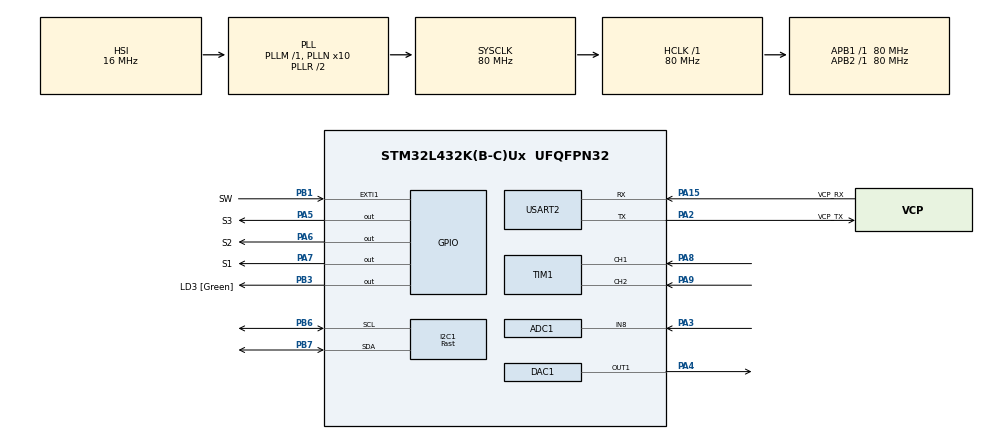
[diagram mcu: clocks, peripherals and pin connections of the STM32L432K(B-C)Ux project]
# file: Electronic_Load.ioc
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ADC1.Channel-0\#ChannelRegularConversion=ADC_CHANNEL_8
ADC1.ClockPrescaler=ADC_CLOCK_ASYNC_DIV64
ADC1.ContinuousConvMode=ENABLE
ADC1.DMAContinuousRequests=ENABLE
ADC1.ExternalTrigConv=ADC_EXTERNALTRIG_T6_TRGO
ADC1.NbrOfConversion=1
ADC1.NbrOfConversionFlag=1
ADC1.OffsetNumber-0\#ChannelRegularConversion=ADC_OFFSET_NONE
ADC1.Rank-0\#ChannelRegularConversion=1
ADC1.SamplingTime-0\#ChannelRegularConversion=ADC_SAMPLETIME_247CYCLES_5
ADC1.master=1
DAC1.DAC_OutputBuffer-DAC_OUT1=DAC_OUTPUTBUFFER_DISABLE
DAC1.DAC_Trigger-DAC_OUT1=DAC_TRIGGER_NONE
Dma.ADC1.0.Direction=DMA_PERIPH_TO_MEMORY
Dma.ADC1.0.Instance=DMA1_Channel1
Dma.ADC1.0.MemDataAlignment=DMA_MDATAALIGN_HALFWORD
Dma.ADC1.0.MemInc=DMA_MINC_ENABLE
Dma.ADC1.0.Mode=DMA_CIRCULAR
Dma.ADC1.0.PeriphDataAlignment=DMA_PDATAALIGN_HALFWORD
Dma.ADC1.0.PeriphInc=DMA_PINC_DISABLE
Dma.ADC1.0.Priority=DMA_PRIORITY_LOW
Dma.Request0=ADC1
I2C1.I2C_Speed_Mode=I2C_Fast
I2C1.Timing=0x00F12981
Mcu.Family=STM32L4
Mcu.Name=STM32L432K(B-C)Ux
Mcu.Package=UFQFPN32
NVIC.ADC1_IRQn=true\:0\:0\:false\:false\:true\:true\:true\:true
NVIC.DMA1_Channel1_IRQn=true\:0\:0\:false\:false\:true\:false\:true\:true
NVIC.EXTI1_IRQn=true\:0\:0\:false\:false\:true\:true\:true\:true
NVIC.PriorityGroup=NVIC_PRIORITYGROUP_4
NVIC.TIM1_BRK_TIM15_IRQn=true\:0\:0\:false\:false\:true\:true\:true\:true
NVIC.TIM1_CC_IRQn=true\:0\:0\:false\:false\:true\:true\:true\:true
NVIC.TIM1_TRG_COM_IRQn=true\:0\:0\:false\:false\:true\:true\:true\:true
NVIC.TIM1_UP_TIM16_IRQn=true\:0\:0\:false\:false\:true\:true\:true\:true
NVIC.TIM6_DAC_IRQn=true\:0\:0\:false\:false\:true\:true\:true\:true
PA0.GPIO_Label=MCO [High speed clock in]
PA0.Mode=HSE-External-Clock-Source-for-LittleOrca
PA0.Signal=RCC_CK_IN
PA13\ (JTMS-SWDIO).GPIO_Label=SWDIO
PA13\ (JTMS-SWDIO).Mode=Serial_Wire
PA13\ (JTMS-SWDIO).Signal=SYS_JTMS-SWDIO
PA14\ (JTCK-SWCLK).GPIO_Label=SWCLK
PA14\ (JTCK-SWCLK).Mode=Serial_Wire
PA14\ (JTCK-SWCLK).Signal=SYS_JTCK-SWCLK
PA15\ (JTDI).GPIO_Label=VCP_RX
PA15\ (JTDI).Mode=Asynchronous
PA15\ (JTDI).Signal=USART2_RX
PA2.GPIO_Label=VCP_TX
PA2.Mode=Asynchronous
PA2.Signal=USART2_TX
PA3.Signal=ADCx_IN8
PA4.Signal=COMP_DAC11_group
PA5.GPIO_Label=S3
PA5.GPIO_Speed=GPIO_SPEED_FREQ_VERY_HIGH
PA5.Signal=GPIO_Output
PA6.GPIO_Label=S2
PA6.GPIO_Speed=GPIO_SPEED_FREQ_VERY_HIGH
PA6.Signal=GPIO_Output
PA7.GPIO_Label=S1
PA7.GPIO_Speed=GPIO_SPEED_FREQ_VERY_HIGH
PA7.Signal=GPIO_Output
PA8.GPIO_PuPd=GPIO_NOPULL
PA8.Signal=S_TIM1_CH1
PA9.GPIO_PuPd=GPIO_NOPULL
PA9.Signal=S_TIM1_CH2
PB1.GPIO_Label=SW
PB1.GPIO_ModeDefaultEXTI=GPIO_MODE_IT_FALLING
PB1.GPIO_PuPd=GPIO_PULLUP
PB1.Signal=GPXTI1
PB3\ (JTDO-TRACESWO).GPIO_Label=LD3 [Green]
PB3\ (JTDO-TRACESWO).Signal=GPIO_Output
PB6.Mode=I2C
PB6.Signal=I2C1_SCL
PB7.Mode=I2C
PB7.Signal=I2C1_SDA
PC14-OSC32_IN\ (PC14).Mode=LSE-External-Oscillator
PC14-OSC32_IN\ (PC14).Signal=RCC_OSC32_IN
PC15-OSC32_OUT\ (PC15).Mode=LSE-External-Oscillator
PC15-OSC32_OUT\ (PC15).Signal=RCC_OSC32_OUT
ProjectManager.HeapSize=0x200
ProjectManager.StackSize=0x400
ProjectManager.TargetToolchain=STM32CubeIDE
RCC.ADCFreq_Value=64000000
RCC.AHBFreq_Value=80000000
RCC.APB1Freq_Value=80000000
RCC.APB1TimFreq_Value=80000000
RCC.APB2Freq_Value=80000000
RCC.APB2TimFreq_Value=80000000
RCC.CortexFreq_Value=80000000
RCC.HCLKFreq_Value=80000000
RCC.HSE_VALUE=8000000
RCC.HSI16_VALUE=16000000
RCC.HSI48_VALUE=48000000
RCC.HSI_VALUE=16000000
RCC.MSI_VALUE=4000000
RCC.PLLMUL=RCC_PLLMUL_4
RCC.PLLN=10
RCC.PLLSourceVirtual=RCC_PLLSOURCE_HSI
RCC.SYSCLKFreq_VALUE=80000000
RCC.SYSCLKSource=RCC_SYSCLKSOURCE_PLLCLK
RCC.USBFreq_Value=64000000
RCC.VCOOutputFreq_Value=160000000
SH.ADCx_IN8.0=ADC1_IN8,IN8-Single-Ended
SH.COMP_DAC11_group.0=DAC1_OUT1,DAC_OUT1
SH.S_TIM1_CH1.0=TIM1_CH1,Encoder_Interface
SH.S_TIM1_CH2.0=TIM1_CH2,Encoder_Interface
TIM1.EncoderMode=TIM_ENCODERMODE_TI12
TIM1.IC1Filter=15
TIM1.IC1Polarity=TIM_ICPOLARITY_FALLING
TIM1.IC2Filter=15
TIM1.IC2Polarity=TIM_ICPOLARITY_FALLING
TIM6.AutoReloadPreload=TIM_AUTORELOAD_PRELOAD_ENABLE
TIM6.Period=200-1
TIM6.Prescaler=4000-1
TIM6.TIM_MasterOutputTrigger=TIM_TRGO_UPDATE
USART2.VirtualMode-Asynchronous=VM_ASYNC
VP_TIM6_VS_ClockSourceINT.Mode=Enable_Timer
board=NUCLEO-L432KC

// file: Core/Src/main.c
/* USER CODE BEGIN Header */
/**
 ******************************************************************************
 * @file           : main.c
 * @brief          : Main program body
 ******************************************************************************
 * @attention
 *
 * Copyright (c) 2025 STMicroelectronics.
 * All rights reserved.
 *
 * This software is licensed under terms that can be found in the LICENSE file
 * in the root directory of this software component.
 * If no LICENSE file comes with this software, it is provided AS-IS.
 *
 ******************************************************************************
 */
/* USER CODE END Header */
#include "main.h"

/* USER CODE BEGIN Includes */
#include "i2c_lcd.h"
#include "stdio.h"
#include "string.h"

/* USER CODE END Includes */

/* USER CODE BEGIN PD */
#define LCD_COLS 16
#define ENC_DEBOUNCE_MS   50   // 2–5 ms is typical for a mechanical encoder
#define PA_SEL_MASK (GPIO_PIN_5 | GPIO_PIN_6 | GPIO_PIN_7)
#define VREF 3.3
#define ADC_RES 4096.0

#define SEL_SHIFT 5
#define SEL_MASK  (0x7u << SEL_SHIFT)

#define UI_REFRESH_MS 500

/* USER CODE END PD */

ADC_HandleTypeDef hadc1;
DMA_HandleTypeDef hdma_adc1;

DAC_HandleTypeDef hdac1;

I2C_HandleTypeDef hi2c1;

TIM_HandleTypeDef htim1;
TIM_HandleTypeDef htim6;

UART_HandleTypeDef huart2;

/* USER CODE BEGIN PV */
volatile uint16_t ADC_Array[10];  //Data that is stored by the ADC
volatile uint16_t ADC_Filtered;
uint16_t DAC_Array[1]; 	//Data that is transferred to the DAC size will be kept at 1 until a test program is written
volatile uint32_t selectBits = 0;
volatile uint32_t changeBits = 0;
volatile uint8_t buttonPressed = 0;
uint8_t lastButtonState = 0;

volatile int16_t position = 0;
uint8_t direction = 0;
int16_t prePosition;
float currentSet = 0.0f;
// --- globals (or make them static in the .c file) ---
volatile uint8_t knobTurned = 0;

// last accepted capture time (ms). If you have multiple encoders/timers, keep one per encoder.
static uint32_t s_lastEncTick = 0;

uint32_t lastUiTick = 0;                  // last time we refreshed LCD/UI

float voltage = 3.14;

float current1 = 0;
float current2 = 0;
float current3 = 0;
float current4 = 0;
float previousCurrent = 0.0f;

char buffer[10];

/* USER CODE END PV */

void SystemClock_Config(void);
static void MX_GPIO_Init(void);
static void MX_DMA_Init(void);
static void MX_USART2_UART_Init(void);
static void MX_I2C1_Init(void);
static void MX_DAC1_Init(void);
static void MX_TIM1_Init(void);
static void MX_ADC1_Init(void);
static void MX_TIM6_Init(void);
/* USER CODE BEGIN PFP */
void PA_WriteSel3(uint32_t val3);
/* USER CODE END PFP */

/* USER CODE BEGIN 0 */

I2C_LCD_HandleTypeDef lcd1;
uint8_t addr = 0x3F;

/* USER CODE END 0 */

int main(void)
{

  /* MCU Configuration--------------------------------------------------------*/

  /* Reset of all peripherals, Initializes the Flash interface and the Systick. */
  HAL_Init();

  /* Configure the system clock */
  SystemClock_Config();

  /* Initialize all configured peripherals */
  MX_GPIO_Init();
  MX_DMA_Init();
  MX_USART2_UART_Init();
  MX_I2C1_Init();
  MX_DAC1_Init();
  MX_TIM1_Init();
  MX_ADC1_Init();
  MX_TIM6_Init();
  /* USER CODE BEGIN 2 */
  HAL_ADCEx_Calibration_Start(&hadc1, ADC_SINGLE_ENDED);
	lcd1.hi2c = &hi2c1;
	lcd1.address = addr;
	lcd_init(&lcd1);
	HAL_TIM_Base_Start_IT(&htim6);//DAC and ADC timer
	HAL_TIM_Encoder_Start_IT(&htim1, TIM_CHANNEL_ALL);
	HAL_ADC_Start_DMA(&hadc1, (uint32_t *)ADC_Array, 10);
	HAL_DAC_Start(&hdac1, DAC_CHANNEL_1);
	HAL_DAC_SetValue(&hdac1, DAC_CHANNEL_1, DAC_ALIGN_12B_R, 0);

  /* USER CODE END 2 */

  /* Infinite loop */
  /* USER CODE BEGIN WHILE */
	while (1)
	{

		uint32_t now = HAL_GetTick();
		uint8_t timeElapsed = (uint32_t)(now - lastUiTick) >= UI_REFRESH_MS;

		if ((knobTurned == 1) || (buttonPressed != lastButtonState) || timeElapsed)
		{
		    char buffer[LCD_COLS + 1];

		    // --- Row 1: Current ---
		    int n = snprintf(buffer, sizeof buffer, "I = ");
		    float power = 0.0f;

		    if (buttonPressed == 1) // SET MODE
		    {
		        uint32_t DAC_value = (uint32_t)(currentSet * 32.0f);
		        HAL_DAC_SetValue(&hdac1, DAC_CHANNEL_1, DAC_ALIGN_12B_R, DAC_value);

		        float current = 4.0f * current2;
		        power = current * voltage;
		        snprintf(buffer + n, sizeof buffer - n, "%.2f", current);
		    }
		    else
		    {
		        HAL_DAC_SetValue(&hdac1, DAC_CHANNEL_1, DAC_ALIGN_12B_R, 0);
		        if (((prePosition - position) > 0) && (knobTurned == 1)) {
		            direction = 0; currentSet = currentSet + 0.01f; prePosition = position;
		        } else if (((prePosition - position) <= 0) && (knobTurned == 1)) {
		            direction = 1; currentSet = currentSet - 0.01f; if (currentSet < 0.0f) currentSet = 0.0f; prePosition = position;
		        }
		        power = 0;
		        snprintf(buffer + n, sizeof buffer - n, "%.2f", currentSet);
		    }

		    size_t out_len = strlen(buffer);
		    if (out_len < LCD_COLS) memset(buffer + out_len, ' ', LCD_COLS - out_len);
		    buffer[LCD_COLS] = '\0';

		    // TOP-RIGHT 'S' only
		    buffer[LCD_COLS - 1] = (buttonPressed == 1) ? 'S' : ' ';

		    lcd_clear(&lcd1);
		    lcd_gotoxy(&lcd1, 0, 0);
		    lcd_puts(&lcd1, buffer, LCD_COLS);

		    // --- Row 2: Voltage + Wattage (no bottom-right S) ---
		    int m = snprintf(buffer, sizeof buffer, "V=%.2f W=%.2f", voltage, power);
		    out_len = (m > 0) ? (size_t)m : 0;
		    if (out_len < LCD_COLS) memset(buffer + out_len, ' ', LCD_COLS - out_len);
		    buffer[LCD_COLS] = '\0';                 // no marker at col 15

		    lcd_gotoxy(&lcd1, 0, 1);
		    lcd_puts(&lcd1, buffer, LCD_COLS);

		    knobTurned = 0;
		    lastButtonState = buttonPressed;
		    lastUiTick = now;
		}

    /* USER CODE END WHILE */

	}
}

void SystemClock_Config(void)
{
  RCC_OscInitTypeDef RCC_OscInitStruct = {0};
  RCC_ClkInitTypeDef RCC_ClkInitStruct = {0};

  /** Configure the main internal regulator output voltage
  */
  if (HAL_PWREx_ControlVoltageScaling(PWR_REGULATOR_VOLTAGE_SCALE1) != HAL_OK)
  {
    Error_Handler();
  }

  /** Initializes the RCC Oscillators according to the specified parameters
  * in the RCC_OscInitTypeDef structure.
  */
  RCC_OscInitStruct.OscillatorType = RCC_OSCILLATORTYPE_HSI;
  RCC_OscInitStruct.HSIState = RCC_HSI_ON;
  RCC_OscInitStruct.HSICalibrationValue = RCC_HSICALIBRATION_DEFAULT;
  RCC_OscInitStruct.PLL.PLLState = RCC_PLL_ON;
  RCC_OscInitStruct.PLL.PLLSource = RCC_PLLSOURCE_HSI;
  RCC_OscInitStruct.PLL.PLLM = 1;
  RCC_OscInitStruct.PLL.PLLN = 10;
  RCC_OscInitStruct.PLL.PLLP = RCC_PLLP_DIV7;
  RCC_OscInitStruct.PLL.PLLQ = RCC_PLLQ_DIV2;
  RCC_OscInitStruct.PLL.PLLR = RCC_PLLR_DIV2;
  if (HAL_RCC_OscConfig(&RCC_OscInitStruct) != HAL_OK)
  {
    Error_Handler();
  }

  /** Initializes the CPU, AHB and APB buses clocks
  */
  RCC_ClkInitStruct.ClockType = RCC_CLOCKTYPE_HCLK|RCC_CLOCKTYPE_SYSCLK
                              |RCC_CLOCKTYPE_PCLK1|RCC_CLOCKTYPE_PCLK2;
  RCC_ClkInitStruct.SYSCLKSource = RCC_SYSCLKSOURCE_PLLCLK;
  RCC_ClkInitStruct.AHBCLKDivider = RCC_SYSCLK_DIV1;
  RCC_ClkInitStruct.APB1CLKDivider = RCC_HCLK_DIV1;
  RCC_ClkInitStruct.APB2CLKDivider = RCC_HCLK_DIV1;

  if (HAL_RCC_ClockConfig(&RCC_ClkInitStruct, FLASH_LATENCY_4) != HAL_OK)
  {
    Error_Handler();
  }
}

static void MX_ADC1_Init(void)
{

  ADC_ChannelConfTypeDef sConfig = {0};

  /** Common config
  */
  hadc1.Instance = ADC1;
  hadc1.Init.ClockPrescaler = ADC_CLOCK_ASYNC_DIV64;
  hadc1.Init.Resolution = ADC_RESOLUTION_12B;
  hadc1.Init.DataAlign = ADC_DATAALIGN_RIGHT;
  hadc1.Init.ScanConvMode = ADC_SCAN_DISABLE;
  hadc1.Init.EOCSelection = ADC_EOC_SINGLE_CONV;
  hadc1.Init.LowPowerAutoWait = DISABLE;
  hadc1.Init.ContinuousConvMode = ENABLE;
  hadc1.Init.NbrOfConversion = 1;
  hadc1.Init.DiscontinuousConvMode = DISABLE;
  hadc1.Init.ExternalTrigConv = ADC_EXTERNALTRIG_T6_TRGO;
  hadc1.Init.ExternalTrigConvEdge = ADC_EXTERNALTRIGCONVEDGE_RISING;
  hadc1.Init.DMAContinuousRequests = ENABLE;
  hadc1.Init.Overrun = ADC_OVR_DATA_PRESERVED;
  hadc1.Init.OversamplingMode = DISABLE;
  if (HAL_ADC_Init(&hadc1) != HAL_OK)
  {
    Error_Handler();
  }

  /** Configure Regular Channel
  */
  sConfig.Channel = ADC_CHANNEL_8;
  sConfig.Rank = ADC_REGULAR_RANK_1;
  sConfig.SamplingTime = ADC_SAMPLETIME_247CYCLES_5;
  sConfig.SingleDiff = ADC_SINGLE_ENDED;
  sConfig.OffsetNumber = ADC_OFFSET_NONE;
  sConfig.Offset = 0;
  if (HAL_ADC_ConfigChannel(&hadc1, &sConfig) != HAL_OK)
  {
    Error_Handler();
  }

}

static void MX_DAC1_Init(void)
{

  DAC_ChannelConfTypeDef sConfig = {0};

  /** DAC Initialization
  */
  hdac1.Instance = DAC1;
  if (HAL_DAC_Init(&hdac1) != HAL_OK)
  {
    Error_Handler();
  }

  /** DAC channel OUT1 config
  */
  sConfig.DAC_SampleAndHold = DAC_SAMPLEANDHOLD_DISABLE;
  sConfig.DAC_Trigger = DAC_TRIGGER_NONE;
  sConfig.DAC_OutputBuffer = DAC_OUTPUTBUFFER_DISABLE;
  sConfig.DAC_ConnectOnChipPeripheral = DAC_CHIPCONNECT_DISABLE;
  sConfig.DAC_UserTrimming = DAC_TRIMMING_FACTORY;
  if (HAL_DAC_ConfigChannel(&hdac1, &sConfig, DAC_CHANNEL_1) != HAL_OK)
  {
    Error_Handler();
  }

}

static void MX_I2C1_Init(void)
{

  hi2c1.Instance = I2C1;
  hi2c1.Init.Timing = 0x00F12981;
  hi2c1.Init.OwnAddress1 = 0;
  hi2c1.Init.AddressingMode = I2C_ADDRESSINGMODE_7BIT;
  hi2c1.Init.DualAddressMode = I2C_DUALADDRESS_DISABLE;
  hi2c1.Init.OwnAddress2 = 0;
  hi2c1.Init.OwnAddress2Masks = I2C_OA2_NOMASK;
  hi2c1.Init.GeneralCallMode = I2C_GENERALCALL_DISABLE;
  hi2c1.Init.NoStretchMode = I2C_NOSTRETCH_DISABLE;
  if (HAL_I2C_Init(&hi2c1) != HAL_OK)
  {
    Error_Handler();
  }

  /** Configure Analogue filter
  */
  if (HAL_I2CEx_ConfigAnalogFilter(&hi2c1, I2C_ANALOGFILTER_ENABLE) != HAL_OK)
  {
    Error_Handler();
  }

  /** Configure Digital filter
  */
  if (HAL_I2CEx_ConfigDigitalFilter(&hi2c1, 0) != HAL_OK)
  {
    Error_Handler();
  }

}

static void MX_TIM1_Init(void)
{

  TIM_Encoder_InitTypeDef sConfig = {0};
  TIM_MasterConfigTypeDef sMasterConfig = {0};

  htim1.Instance = TIM1;
  htim1.Init.Prescaler = 0;
  htim1.Init.CounterMode = TIM_COUNTERMODE_UP;
  htim1.Init.Period = 65535;
  htim1.Init.ClockDivision = TIM_CLOCKDIVISION_DIV1;
  htim1.Init.RepetitionCounter = 0;
  htim1.Init.AutoReloadPreload = TIM_AUTORELOAD_PRELOAD_DISABLE;
  sConfig.EncoderMode = TIM_ENCODERMODE_TI12;
  sConfig.IC1Polarity = TIM_ICPOLARITY_FALLING;
  sConfig.IC1Selection = TIM_ICSELECTION_DIRECTTI;
  sConfig.IC1Prescaler = TIM_ICPSC_DIV1;
  sConfig.IC1Filter = 15;
  sConfig.IC2Polarity = TIM_ICPOLARITY_FALLING;
  sConfig.IC2Selection = TIM_ICSELECTION_DIRECTTI;
  sConfig.IC2Prescaler = TIM_ICPSC_DIV1;
  sConfig.IC2Filter = 15;
  if (HAL_TIM_Encoder_Init(&htim1, &sConfig) != HAL_OK)
  {
    Error_Handler();
  }
  sMasterConfig.MasterOutputTrigger = TIM_TRGO_RESET;
  sMasterConfig.MasterOutputTrigger2 = TIM_TRGO2_RESET;
  sMasterConfig.MasterSlaveMode = TIM_MASTERSLAVEMODE_DISABLE;
  if (HAL_TIMEx_MasterConfigSynchronization(&htim1, &sMasterConfig) != HAL_OK)
  {
    Error_Handler();
  }

}

static void MX_TIM6_Init(void)
{

  TIM_MasterConfigTypeDef sMasterConfig = {0};

  htim6.Instance = TIM6;
  htim6.Init.Prescaler = 4000-1;
  htim6.Init.CounterMode = TIM_COUNTERMODE_UP;
  htim6.Init.Period = 200-1;
  htim6.Init.AutoReloadPreload = TIM_AUTORELOAD_PRELOAD_ENABLE;
  if (HAL_TIM_Base_Init(&htim6) != HAL_OK)
  {
    Error_Handler();
  }
  sMasterConfig.MasterOutputTrigger = TIM_TRGO_UPDATE;
  sMasterConfig.MasterSlaveMode = TIM_MASTERSLAVEMODE_DISABLE;
  if (HAL_TIMEx_MasterConfigSynchronization(&htim6, &sMasterConfig) != HAL_OK)
  {
    Error_Handler();
  }

}

static void MX_USART2_UART_Init(void)
{

  huart2.Instance = USART2;
  huart2.Init.BaudRate = 115200;
  huart2.Init.WordLength = UART_WORDLENGTH_8B;
  huart2.Init.StopBits = UART_STOPBITS_1;
  huart2.Init.Parity = UART_PARITY_NONE;
  huart2.Init.Mode = UART_MODE_TX_RX;
  huart2.Init.HwFlowCtl = UART_HWCONTROL_NONE;
  huart2.Init.OverSampling = UART_OVERSAMPLING_16;
  huart2.Init.OneBitSampling = UART_ONE_BIT_SAMPLE_DISABLE;
  huart2.AdvancedInit.AdvFeatureInit = UART_ADVFEATURE_NO_INIT;
  if (HAL_UART_Init(&huart2) != HAL_OK)
  {
    Error_Handler();
  }

}

static void MX_DMA_Init(void)
{

  /* DMA controller clock enable */
  __HAL_RCC_DMA1_CLK_ENABLE();

  /* DMA interrupt init */
  /* DMA1_Channel1_IRQn interrupt configuration */
  HAL_NVIC_SetPriority(DMA1_Channel1_IRQn, 0, 0);
  HAL_NVIC_EnableIRQ(DMA1_Channel1_IRQn);

}

static void MX_GPIO_Init(void)
{
  GPIO_InitTypeDef GPIO_InitStruct = {0};

  /* GPIO Ports Clock Enable */
  __HAL_RCC_GPIOC_CLK_ENABLE();
  __HAL_RCC_GPIOA_CLK_ENABLE();
  __HAL_RCC_GPIOB_CLK_ENABLE();

  /*Configure GPIO pin Output Level */
  HAL_GPIO_WritePin(GPIOA, S3_Pin|S2_Pin|S1_Pin, GPIO_PIN_RESET);

  /*Configure GPIO pin Output Level */
  HAL_GPIO_WritePin(LD3_GPIO_Port, LD3_Pin, GPIO_PIN_RESET);

  /*Configure GPIO pins : S3_Pin S2_Pin S1_Pin */
  GPIO_InitStruct.Pin = S3_Pin|S2_Pin|S1_Pin;
  GPIO_InitStruct.Mode = GPIO_MODE_OUTPUT_PP;
  GPIO_InitStruct.Pull = GPIO_NOPULL;
  GPIO_InitStruct.Speed = GPIO_SPEED_FREQ_VERY_HIGH;
  HAL_GPIO_Init(GPIOA, &GPIO_InitStruct);

  /*Configure GPIO pin : SW_Pin */
  GPIO_InitStruct.Pin = SW_Pin;
  GPIO_InitStruct.Mode = GPIO_MODE_IT_FALLING;
  GPIO_InitStruct.Pull = GPIO_PULLUP;
  HAL_GPIO_Init(SW_GPIO_Port, &GPIO_InitStruct);

  /*Configure GPIO pin : LD3_Pin */
  GPIO_InitStruct.Pin = LD3_Pin;
  GPIO_InitStruct.Mode = GPIO_MODE_OUTPUT_PP;
  GPIO_InitStruct.Pull = GPIO_NOPULL;
  GPIO_InitStruct.Speed = GPIO_SPEED_FREQ_LOW;
  HAL_GPIO_Init(LD3_GPIO_Port, &GPIO_InitStruct);

  /* EXTI interrupt init*/
  HAL_NVIC_SetPriority(EXTI1_IRQn, 0, 0);
  HAL_NVIC_EnableIRQ(EXTI1_IRQn);

}

/* USER CODE BEGIN 4 */
void HAL_TIM_PeriodElapsedCallback(TIM_HandleTypeDef *htim)
{

	uint16_t ADCFilteredSum = 0;
	ADC_Filtered = 0;
	for(int i = 0; i < 10;i++)
	{
		ADCFilteredSum = ADCFilteredSum + ADC_Array[i];
	}
	ADC_Filtered = ADCFilteredSum/10.0f;

	if (selectBits == 0) //2
	{
		current2 = VREF/ADC_RES * (float)ADC_Filtered * 10.0f;
	}
	else if (selectBits == 1) //3
	{

	}
	else if (selectBits == 2) //4
	{
		current4 = VREF/ADC_RES * (float)ADC_Filtered * 10.0f;
	}
	else if (selectBits == 3) //1
	{
		current1 = VREF/ADC_RES * (float)ADC_Filtered * 10.0f;
	}
	else if (selectBits == 4) //Temp
	{
		current3 = VREF/ADC_RES * (float)ADC_Filtered * 10.0f;
	}
	else if (selectBits == 5) //Voltage
	{
		voltage = (VREF/ADC_RES) * ((float)ADC_Filtered) * (101.0f); //101 is the (R1 + R2)/R1
	}

    // advance 0..5 (wrap)
    selectBits = selectBits + 1u;
//	selectBits = 0;
    if (selectBits > 5u) selectBits = 0u;

    // build masks for PA5..PA7  (uses your SEL_SHIFT=5, SEL_MASK=(0x7u<<5))
    uint16_t setMask = (uint16_t)(((selectBits & 0x7u) << SEL_SHIFT) & SEL_MASK);
    uint16_t rstMask = (uint16_t)(SEL_MASK & ~setMask);

    // update only PA5..PA7 via HAL (BSRR under the hood)
    if (rstMask) HAL_GPIO_WritePin(GPIOA, rstMask, GPIO_PIN_RESET);
    if (setMask) HAL_GPIO_WritePin(GPIOA, setMask, GPIO_PIN_SET);
}

void HAL_TIM_IC_CaptureCallback(TIM_HandleTypeDef* htim)
{
	// Debounce using SysTick
	uint32_t now = HAL_GetTick();
	if ((uint32_t)(now - s_lastEncTick) < ENC_DEBOUNCE_MS) {
		// too soon since the last accepted edge — ignore as bounce
		return;
	}
	s_lastEncTick = now;

	// Read encoder count and signal the main loop
	uint32_t counter = __HAL_TIM_GET_COUNTER(htim);
	int16_t count = (int16_t)counter;   // assuming ARR fits in int16_t / encoder configured that way
	position = count;
	knobTurned = 1;
}

void HAL_GPIO_EXTI_Callback(uint16_t GPIO_Pin)
{
	static uint32_t last = 0;
	if(GPIO_Pin == SW_Pin){
	        uint32_t now = HAL_GetTick();
	        if (now - last >= 400) {          // 50 ms example
	            last = now;
	            buttonPressed = !buttonPressed;   // or: mode ^= 1u;
	        }
	    }
}
void HAL_ADC_ConvCpltCallback(ADC_HandleTypeDef* hadc)
{

}

/* USER CODE END 4 */

void Error_Handler(void)
{
	__disable_irq();
	while (1)
	{
	}
}
